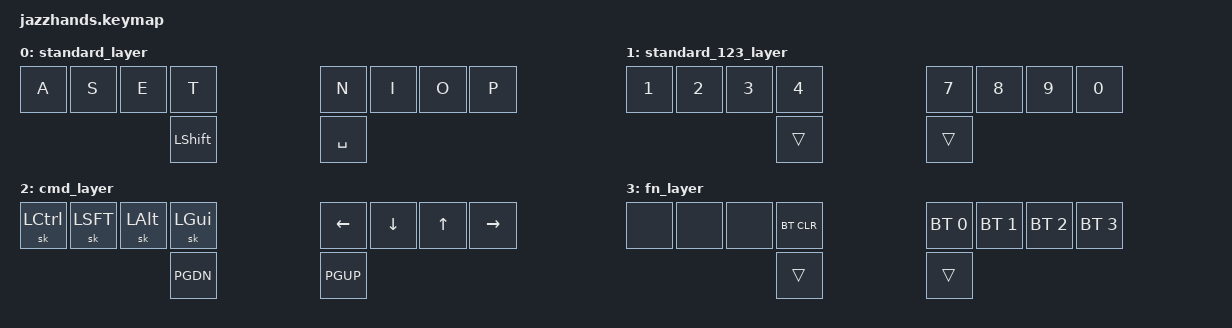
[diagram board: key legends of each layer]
/*
 * Copyright (c) 2020 The ZMK Contributors
 *
 * SPDX-License-Identifier: MIT
 */

#include <behaviors.dtsi>
#include <dt-bindings/zmk/keys.h>
#include <dt-bindings/zmk/bt.h>

#define STD_L 0
#define STD_123_L 1
#define CMD_L 2
#define FN_L 3

#define LP 0
#define LR 1
#define LM 2
#define LI 3

#define RI 4
#define RM 5
#define RR 6
#define RP 7

#define A_POS LP
#define S_POS LR
#define E_POS LM
#define T_POS LI

#define N_POS RI
#define I_POS RM
#define O_POS RR
#define P_POS RP

#define N1_POS LP
#define N2_POS LR
#define N3_POS LM
#define N4_POS LI

#define N7_POS RI
#define N8_POS RM
#define N9_POS RR
#define N0_POS RP

#define COMBO_TIMEOUT 150

#define COMBO(LAYER,POS,USAGE) \
      combo_##USAGE { \
      	timeout-ms = <COMBO_TIMEOUT>; \
	key-positions = <POS>; \
	layers = <LAYER>; \
	bindings = <&kp USAGE>; \
      };

// Override some settings for existing behaviors
&sk {
    release-after-ms = <2000>;
    quick-release;
};

/ { 
	standard_mod_morphs {
		ques_slash: ques_slash {
			compatible = "zmk,behavior-mod-morph";
			label = "QUES_SLASH";
			#binding-cells = <0>;
			bindings = <&kp LS(SLASH)>, <&kp SLASH>;
			mods = <(MOD_LSFT|MOD_RSFT)>;
			keep-mods = <(MOD_LSFT|MOD_RSFT)>;
		};

		bang_at: bang_at {
			compatible = "zmk,behavior-mod-morph";
			label = "BANG_AT";
			#binding-cells = <0>;
			bindings = <&kp LS(N1)>, <&kp LS(N2)>;
			mods = <(MOD_LSFT|MOD_RSFT)>;
		};

		lpar_bracket: lpar_bracket {
			compatible = "zmk,behavior-mod-morph";
			label = "LPAR_BRKT";
			#binding-cells = <0>;
			bindings = <&kp LPAR>, <&kp LBKT>;
			mods = <(MOD_LSFT|MOD_RSFT)>;
		};

		rpar_bracket: rpar_bracket {
			compatible = "zmk,behavior-mod-morph";
			label = "RPAR_BRKT";
			#binding-cells = <0>;
			bindings = <&kp RPAR>, <&kp RBKT>;
			mods = <(MOD_LSFT|MOD_RSFT)>;
		};
	};

	combos {
		compatible = "zmk,combos";
		
		COMBO(STD_L, T_POS N_POS, B)
		
		COMBO(STD_L, A_POS N_POS, Q)

		combo_BANG_AT {
			timeout-ms = <COMBO_TIMEOUT>;
			key-positions = <I_POS P_POS>;
			layers = <STD_L STD_123_L>;
			bindings = <&bang_at>;
		};
		
		COMBO(STD_L, S_POS E_POS, D)
		COMBO(STD_L, T_POS O_POS, G)
		
		COMBO(STD_L, A_POS T_POS, F)
		COMBO(STD_L, N_POS P_POS, M)
		
		COMBO(STD_L, S_POS I_POS, K)
		
		COMBO(STD_L, S_POS N_POS, J)
		COMBO(STD_L, I_POS O_POS, L)
		
		COMBO(STD_L, A_POS S_POS, W)
		COMBO(STD_L STD_123_L, E_POS P_POS, QUOT)
		
		COMBO(STD_L, E_POS T_POS, R)
		COMBO(STD_L, N_POS I_POS, H)
		
		COMBO(STD_L, S_POS T_POS, C)
		COMBO(STD_L, N_POS O_POS, U)
		
		COMBO(STD_L, A_POS E_POS, X)
		COMBO(STD_L STD_123_L, T_POS P_POS, BACKSPACE)
		
		COMBO(STD_L, T_POS I_POS, V)
		
		COMBO(STD_L, E_POS N_POS, Y)
		
		COMBO(STD_L, A_POS I_POS, Z)
		COMBO(STD_L STD_123_L, O_POS P_POS, SEMI)
		
		COMBO(STD_L STD_123_L, E_POS I_POS, COMMA)
		
		COMBO(STD_L STD_123_L, S_POS O_POS, DOT)
		
		combo_QUES_SLASH {
			timeout-ms = <COMBO_TIMEOUT>;
			key-positions = <A_POS P_POS>;
			layers = <STD_L STD_123_L>;
			bindings = <&ques_slash>;
		};

		combo_LPAR_BRKT {
			timeout-ms = <COMBO_TIMEOUT>;
			key-positions = <A_POS O_POS>;
			layers = <STD_L STD_123_L>;
			bindings = <&lpar_bracket>;
		};

		combo_RPAR_BRKT {
			timeout-ms = <COMBO_TIMEOUT>;
			key-positions = <S_POS P_POS>;
			layers = <STD_L STD_123_L>;
			bindings = <&rpar_bracket>;
		};
		
		COMBO(STD_L STD_123_L, E_POS O_POS, MINUS)
		
		COMBO(STD_L STD_123_L, A_POS S_POS E_POS T_POS, TAB)
		COMBO(STD_L STD_123_L, N_POS I_POS O_POS P_POS, RET)
		
		COMBO(STD_123_L, N3_POS N4_POS, N5)
		COMBO(STD_123_L, N7_POS N8_POS, N6)

		COMBO(STD_123_L, N1_POS N7_POS, TILDE)
		COMBO(STD_123_L, N4_POS N7_POS, EQUAL)
		COMBO(STD_123_L, N1_POS N8_POS, BSLH)

		combo_std_to_std_123 {
			timeout-ms = <COMBO_TIMEOUT>;
			key-positions = <A_POS T_POS N_POS P_POS>;
			layers = <STD_L>;
			bindings = <&to STD_123_L>;
		};
		
		combo_132_to_std {
			timeout-ms = <COMBO_TIMEOUT>;
			key-positions = <A_POS T_POS N_POS P_POS>;
			layers = <STD_123_L>;
			bindings = <&to STD_L>;
		};

		combo_std_to_cmd {
			timeout-ms = <COMBO_TIMEOUT>;
			key-positions = <S_POS E_POS I_POS O_POS>;
			layers = <STD_L>;
			bindings = <&to CMD_L>;
		};
		
		combo_cmd_to_std {
			timeout-ms = <COMBO_TIMEOUT>;
			key-positions = <E_POS S_POS I_POS O_POS>;
			layers = <CMD_L>;
			bindings = <&to STD_L>;
		};

		combo_std_to_fn {
			timeout-ms = <COMBO_TIMEOUT>;
			key-positions = <A_POS S_POS O_POS P_POS>;
			layers = <STD_L>;
			bindings = <&to FN_L>;
		};
		
		combo_fn_to_std {
			timeout-ms = <COMBO_TIMEOUT>;
			key-positions = <A_POS S_POS O_POS P_POS>;
			layers = <FN_L>;
			bindings = <&to STD_L>;
		};
	};

	keymap {
		compatible = "zmk,keymap";

		standard_layer {
			bindings = <
&kp A  &kp S  &kp E  &kp T              &kp N  &kp I  &kp O  &kp P 
                     &kp LSHIFT         &kp SPACE
				>;
		};

		standard_123_layer {
			bindings = <
&kp N1 &kp N2 &kp N3 &kp N4             &kp N7 &kp N8  &kp N9   &kp N0 
                     &trans             &trans
				>;
		};

		cmd_layer {
			bindings = <
&sk LCTRL &sk LSFT &sk LALT &sk LGUI    &kp LEFT &kp DOWN  &kp UP   &kp RIGHT 
                            &kp PGDN    &kp PGUP
				>;
		};

		fn_layer {
			bindings = <
&none     &none    &none    &bt BT_CLR    &bt BT_SEL 0 &bt BT_SEL 1  &bt BT_SEL 2   &bt BT_SEL 3 
                            &trans        &trans
				>;
		};
	
	};
};
